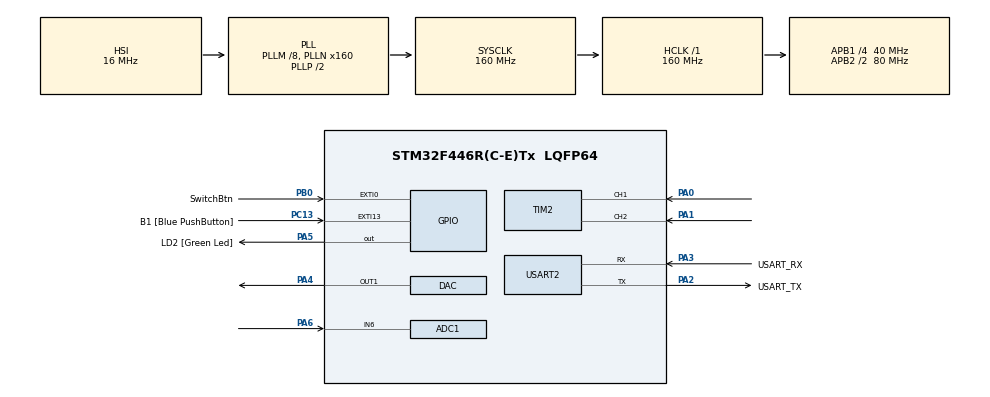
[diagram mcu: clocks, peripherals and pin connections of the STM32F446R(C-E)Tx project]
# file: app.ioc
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ADC1.Channel-5\#ChannelRegularConversion=ADC_CHANNEL_6
ADC1.ContinuousConvMode=DISABLE
ADC1.DMAContinuousRequests=ENABLE
ADC1.ExternalTrigConv=ADC_EXTERNALTRIGCONV_T8_TRGO
ADC1.InjNumberOfConversion=0
ADC1.NbrOfConversion=1
ADC1.NbrOfConversionFlag=1
ADC1.Rank-5\#ChannelRegularConversion=1
ADC1.SamplingTime-5\#ChannelRegularConversion=ADC_SAMPLETIME_28CYCLES
ADC1.master=1
DAC.DAC_Trigger=DAC_TRIGGER_T8_TRGO
Dma.ADC1.1.Direction=DMA_PERIPH_TO_MEMORY
Dma.ADC1.1.FIFOMode=DMA_FIFOMODE_DISABLE
Dma.ADC1.1.Instance=DMA2_Stream0
Dma.ADC1.1.MemDataAlignment=DMA_MDATAALIGN_HALFWORD
Dma.ADC1.1.MemInc=DMA_MINC_ENABLE
Dma.ADC1.1.Mode=DMA_CIRCULAR
Dma.ADC1.1.PeriphDataAlignment=DMA_PDATAALIGN_HALFWORD
Dma.ADC1.1.PeriphInc=DMA_PINC_DISABLE
Dma.ADC1.1.Priority=DMA_PRIORITY_LOW
Dma.DAC1.0.Direction=DMA_MEMORY_TO_PERIPH
Dma.DAC1.0.FIFOMode=DMA_FIFOMODE_DISABLE
Dma.DAC1.0.Instance=DMA1_Stream5
Dma.DAC1.0.MemDataAlignment=DMA_MDATAALIGN_HALFWORD
Dma.DAC1.0.MemInc=DMA_MINC_ENABLE
Dma.DAC1.0.Mode=DMA_CIRCULAR
Dma.DAC1.0.PeriphDataAlignment=DMA_PDATAALIGN_HALFWORD
Dma.DAC1.0.PeriphInc=DMA_PINC_DISABLE
Dma.DAC1.0.Priority=DMA_PRIORITY_LOW
Dma.MEMTOMEM.2.Direction=DMA_MEMORY_TO_MEMORY
Dma.MEMTOMEM.2.FIFOMode=DMA_FIFOMODE_ENABLE
Dma.MEMTOMEM.2.FIFOThreshold=DMA_FIFO_THRESHOLD_FULL
Dma.MEMTOMEM.2.Instance=DMA2_Stream1
Dma.MEMTOMEM.2.MemBurst=DMA_MBURST_SINGLE
Dma.MEMTOMEM.2.MemDataAlignment=DMA_MDATAALIGN_BYTE
Dma.MEMTOMEM.2.MemInc=DMA_MINC_ENABLE
Dma.MEMTOMEM.2.Mode=DMA_NORMAL
Dma.MEMTOMEM.2.PeriphBurst=DMA_PBURST_SINGLE
Dma.MEMTOMEM.2.PeriphDataAlignment=DMA_PDATAALIGN_BYTE
Dma.MEMTOMEM.2.PeriphInc=DMA_PINC_ENABLE
Dma.MEMTOMEM.2.Priority=DMA_PRIORITY_LOW
Dma.MEMTOMEM.3.Direction=DMA_MEMORY_TO_MEMORY
Dma.MEMTOMEM.3.FIFOMode=DMA_FIFOMODE_ENABLE
Dma.MEMTOMEM.3.FIFOThreshold=DMA_FIFO_THRESHOLD_FULL
Dma.MEMTOMEM.3.Instance=DMA2_Stream2
Dma.MEMTOMEM.3.MemBurst=DMA_MBURST_SINGLE
Dma.MEMTOMEM.3.MemDataAlignment=DMA_MDATAALIGN_BYTE
Dma.MEMTOMEM.3.MemInc=DMA_MINC_ENABLE
Dma.MEMTOMEM.3.Mode=DMA_NORMAL
Dma.MEMTOMEM.3.PeriphBurst=DMA_PBURST_SINGLE
Dma.MEMTOMEM.3.PeriphDataAlignment=DMA_PDATAALIGN_BYTE
Dma.MEMTOMEM.3.PeriphInc=DMA_PINC_ENABLE
Dma.MEMTOMEM.3.Priority=DMA_PRIORITY_LOW
Dma.Request0=DAC1
Dma.Request1=ADC1
Dma.Request2=MEMTOMEM
Dma.Request3=MEMTOMEM
Mcu.Family=STM32F4
Mcu.Name=STM32F446R(C-E)Tx
Mcu.Package=LQFP64
NVIC.ADC_IRQn=true\:0\:0\:false\:false\:true\:true\:true\:true
NVIC.DMA1_Stream5_IRQn=true\:0\:0\:false\:false\:true\:false\:true\:true
NVIC.DMA2_Stream0_IRQn=true\:0\:0\:false\:false\:true\:false\:true\:true
NVIC.EXTI0_IRQn=true\:0\:0\:false\:false\:true\:true\:true\:true
NVIC.EXTI15_10_IRQn=true\:0\:0\:false\:false\:true\:true\:true\:true
NVIC.PriorityGroup=NVIC_PRIORITYGROUP_0
NVIC.TIM1_UP_TIM10_IRQn=true\:0\:0\:false\:false\:true\:true\:true\:true
NVIC.TIM2_IRQn=true\:0\:0\:false\:false\:true\:true\:true\:true
NVIC.TIM6_DAC_IRQn=true\:0\:0\:false\:false\:true\:true\:true\:true
NVIC.TIM8_UP_TIM13_IRQn=true\:0\:0\:false\:false\:true\:true\:true\:true
PA0-WKUP.Signal=S_TIM2_CH1_ETR
PA1.Signal=S_TIM2_CH2
PA13.GPIO_Label=TMS
PA13.Mode=Trace_Asynchronous_SW
PA13.Signal=SYS_JTMS-SWDIO
PA14.GPIO_Label=TCK
PA14.Mode=Trace_Asynchronous_SW
PA14.Signal=SYS_JTCK-SWCLK
PA2.GPIO_Label=USART_TX
PA2.Mode=Asynchronous
PA2.Signal=USART2_TX
PA3.GPIO_Label=USART_RX
PA3.Mode=Asynchronous
PA3.Signal=USART2_RX
PA4.Signal=COMP_DAC1_group
PA5.GPIO_Label=LD2 [Green Led]
PA5.Signal=GPIO_Output
PA6.Signal=ADCx_IN6
PB0.GPIO_Label=SwitchBtn
PB0.GPIO_ModeDefaultEXTI=GPIO_MODE_IT_FALLING
PB0.Signal=GPXTI0
PB3.GPIO_Label=SWO
PB3.Mode=Trace_Asynchronous_SW
PB3.Signal=SYS_JTDO-SWO
PC13.GPIO_Label=B1 [Blue PushButton]
PC13.GPIO_ModeDefaultEXTI=GPIO_MODE_IT_FALLING
PC13.Signal=GPXTI13
PC14-OSC32_IN.Mode=LSE-External-Oscillator
PC14-OSC32_IN.Signal=RCC_OSC32_IN
PC15-OSC32_OUT.Mode=LSE-External-Oscillator
PC15-OSC32_OUT.Signal=RCC_OSC32_OUT
PH0-OSC_IN.Mode=HSE-External-Oscillator
PH0-OSC_IN.Signal=RCC_OSC_IN
PH1-OSC_OUT.Mode=HSE-External-Oscillator
PH1-OSC_OUT.Signal=RCC_OSC_OUT
ProjectManager.HeapSize=0x200
ProjectManager.StackSize=0x400
ProjectManager.TargetToolchain=CMake
RCC.48MHZClocksFreq_Value=84000000
RCC.AHBFreq_Value=160000000
RCC.APB1CLKDivider=RCC_HCLK_DIV4
RCC.APB1Freq_Value=40000000
RCC.APB1TimFreq_Value=80000000
RCC.APB2CLKDivider=RCC_HCLK_DIV2
RCC.APB2Freq_Value=80000000
RCC.APB2TimFreq_Value=160000000
RCC.CortexFreq_Value=160000000
RCC.FLatency-AdvancedSettings=FLASH_LATENCY_5
RCC.HCLKFreq_Value=160000000
RCC.HSE_VALUE=8000000
RCC.HSI_VALUE=16000000
RCC.PLLM=8
RCC.PLLN=160
RCC.PWREXT_OverDrive=PWREXT_OverDrive_ACTIVATED
RCC.PWR_Regulator_Voltage_Scale=PWR_REGULATOR_VOLTAGE_SCALE2
RCC.SYSCLKFreq_VALUE=160000000
RCC.SYSCLKSource=RCC_SYSCLKSOURCE_PLLCLK
RCC.USBFreq_Value=160000000
RCC.VCOOutputFreq_Value=320000000
SH.ADCx_IN6.0=ADC1_IN6,IN6
SH.COMP_DAC1_group.0=DAC_OUT1,DAC_OUT1
SH.S_TIM2_CH1_ETR.0=TIM2_CH1,Encoder_Interface
SH.S_TIM2_CH2.0=TIM2_CH2,Encoder_Interface
TIM10.Prescaler=1000 - 1
TIM8.Period=3200 - 1
TIM8.TIM_MasterOutputTrigger=TIM_TRGO_UPDATE
USART2.VirtualMode=VM_ASYNC
VP_TIM10_VS_ClockSourceINT.Mode=Enable_Timer
VP_TIM8_VS_ClockSourceINT.Mode=Internal
board=NUCLEO-F446RE

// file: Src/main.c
/* USER CODE BEGIN Header */
/**
  ******************************************************************************
  * @file           : main.c
  * @brief          : Main program body
  ******************************************************************************
  * @attention
  *
  * Copyright (c) 2025 STMicroelectronics.
  * All rights reserved.
  *
  * This software is licensed under terms that can be found in the LICENSE file
  * in the root directory of this software component.
  * If no LICENSE file comes with this software, it is provided AS-IS.
  *
  ******************************************************************************
  */
/* USER CODE END Header */
#include "main.h"
#include "adc.h"
#include "dac.h"
#include "dma.h"
#include "tim.h"
#include "usart.h"
#include "gpio.h"

/* USER CODE BEGIN Includes */
#include "arm_math.h"
/* USER CODE END Includes */

/* USER CODE BEGIN PTD */
typedef enum {false, true} bool;

typedef enum {OLD, PREV, NEW} processFrame;
typedef enum {LEFT, RIGHT} rawFrame;

#define NUM_PARAMETERS  5
typedef enum {
  THRESHOLD = 0,
  VOLUME,
  SUBTRACTIONS,
  ATTENUATION,
  COYOTE
} ParameterType;

typedef struct {
  const ParameterType type;
  int32_t counter;
  const float32_t min;
  const float32_t max;
  const float32_t step;
  volatile float32_t value;
  volatile float32_t baseValue;
} Parameter;

typedef struct {
  ParameterType curr;
  Parameter parameters[NUM_PARAMETERS];
} UserControl;

#define MAX_BUFS  16
typedef struct {
  const uint16_t numBufs;
  const uint16_t bufSize;
  const enum { NORMAL, CIRCULAR } dmaMode;
  volatile bool loadDone;
  union {
    struct {
      volatile uint16_t loadInd;
      volatile uint16_t readyInds[MAX_BUFS - 1];
    };
    volatile uint16_t indices[MAX_BUFS];
  };
  volatile void* buffers;
} MultiBuffer;
/* USER CODE END PTD */

/* USER CODE BEGIN PD */
#define HALF_FRAME_SIZE   512
#define FLOAT_HALF_FRAME  HALF_FRAME_SIZE * sizeof(float)
#define FULL_FRAME_SIZE   2 * HALF_FRAME_SIZE
#define FLOAT_FULL_FRAME  FULL_FRAME_SIZE * sizeof(float)

// mix signed and unsigned of same rank - UNSIGNED WINS. DO NOT USE U
#define ADC_MAX           4096
#define ADC_MAX_F         4096.0f
#define ADC_MID           2048

#define CNT_MAX           65536
#define CNT_MID           32768

#define BOUNCE_TIME       168 * 50  // kHz * ms. prescaler of 1000
/* USER CODE END PD */

/* USER CODE BEGIN PM */
#define MIN(a,b)            ((a) < (b) ? a : b)         // MIND THE SIDE EFFECTS!
#define MAX(a,b)            ((a) > (b) ? a : b)         // MIND THE SIDE EFFECTS!
#define NEXT(n,m)           ((n) == (m-1) ? 0 : (n+1))  // MIND THE SIDE EFFECTS!
#define PREV(n,m)           ((n) == 0 ? (m-1) : (n-1))  // MIND THE SIDE EFFECTS!

#define READY_RAW_BUF(b, n) ((int16_t(*)[b.bufSize]) (b.buffers))[b.readyInds[n]]
#define LOAD_RAW_BUF(b)     ((int16_t(*)[b.bufSize]) (b.buffers))[b.loadInd]
#define READY_BUF(b, n)     ((float32_t(*)[b.bufSize]) (b.buffers))[b.readyInds[n]]
#define LOAD_BUF(b)         ((float32_t(*)[b.bufSize]) (b.buffers))[b.loadInd]

#define INT16_TO_FLOAT(n)   (1.0f / ADC_MAX_F * (n - ADC_MID))
#define FLOAT_TO_INT16(n)   ((int16_t)(ADC_MAX * n) + ADC_MID)
/* USER CODE END PM */

/* USER CODE BEGIN PV */
int16_t adcData [2 * HALF_FRAME_SIZE] = {0};
int16_t dacData [2 * HALF_FRAME_SIZE] = {0};
MultiBuffer adcBuf = {2, HALF_FRAME_SIZE, CIRCULAR, false, {.indices = {0, 1}}, (void*)adcData};
MultiBuffer dacBuf = {2, HALF_FRAME_SIZE, CIRCULAR, false, {.indices = {0, 1}}, (void*)dacData};

float32_t inData    [3 * HALF_FRAME_SIZE] = {0.0};
float32_t outData   [3 * HALF_FRAME_SIZE] = {0.0};
MultiBuffer inBuf =  {3, HALF_FRAME_SIZE, NORMAL, false, {.indices = {0, 1, 2}}, (void*)inData};
MultiBuffer outBuf = {3, HALF_FRAME_SIZE, NORMAL, false, {.indices = {0, 1, 2}}, (void*)outData};

float32_t inFrames  [4 * FULL_FRAME_SIZE] = {0.0};
float32_t outFrames [4 * FULL_FRAME_SIZE] = {0.0};
MultiBuffer inFrameBuf =  {4, FULL_FRAME_SIZE, NORMAL, false, {.indices = {0, 1, 2, 3}}, (void*)inFrames};
MultiBuffer outFrameBuf = {4, FULL_FRAME_SIZE, NORMAL, false, {.indices = {0, 1, 2, 3}}, (void*)outFrames};

float32_t hann      [FULL_FRAME_SIZE] = {0.0};
float32_t tempHalf1 [HALF_FRAME_SIZE] = {0.0};
float32_t tempHalf2 [HALF_FRAME_SIZE] = {0.0};
float32_t temp1     [FULL_FRAME_SIZE] = {0.0};
float32_t temp2     [FULL_FRAME_SIZE] = {0.0};

float32_t X         [4 * FULL_FRAME_SIZE] = {0.0};
MultiBuffer XBuf =    {4, FULL_FRAME_SIZE, NORMAL, false, {.indices = {0, 1, 2, 3}}, (void*)X};
float32_t Xmag      [4 * HALF_FRAME_SIZE] = {0.0};
MultiBuffer XmagBuf = {4, HALF_FRAME_SIZE, NORMAL, false, {.indices = {0, 1, 2, 3}}, (void*)Xmag};
float32_t Smag      [4 * HALF_FRAME_SIZE] = {0.0};
MultiBuffer SmagBuf = {4, HALF_FRAME_SIZE, NORMAL, false, {.indices = {0, 1, 2, 3}}, (void*)Smag};
float32_t uMag      [HALF_FRAME_SIZE] = {0.0};

float32_t meanRatio = 0.0;
float32_t logMeanRatio = 0.0;
float32_t coolDown = 0.0;
float32_t threshold = 0.0;
bool speech = false;
bool speechBefore = false;
bool forceuMag = true;
bool mute = false;
bool bypass = false;

arm_rfft_fast_instance_f32 fft;

UserControl ctrl = {
  THRESHOLD,
  {
    {THRESHOLD,     0,  -25.0,  0.0,  1.0, -12.0, -12.0},
    {VOLUME,        0,   0.0,   1.0,  0.05, 0.9,   0.9},
    {SUBTRACTIONS,  0,   0.0,   10.0, 1.0,  2.0,   2.0},
    {ATTENUATION,   0,   0.00,  0.10, 0.01, 0.03,  0.03},
    {COYOTE,        0,   0.0,   50.0, 5.0,  30.0,  30.0}
  }
};
bool justPressed = false;     // protect timer from improper restarting
uint8_t clickCount = 0;
uint8_t holdCount = 0;
uint16_t pinPressed = B1_Pin;
uint16_t pinOld = B1_Pin;
/* USER CODE END PV */

void SystemClock_Config(void);

/* USER CODE BEGIN 0 */
static void arm_hanning_f32(float32_t * pDst, uint32_t blockSize) {
  // copied verbatim from GitHub source. ST provides a limited CMSIS DSP implementation
  float32_t k = 2.0f / ((float32_t) blockSize);
  float32_t w;

  for (uint32_t i=0; i < blockSize; i++) {
    w = PI * i * k;
    w = 0.5f * (1.0f - cosf (w));
    pDst[i] = w;
  }
}

static int16_t clampInt16(int16_t value, int16_t min, int16_t max) {
  if (value > max) return max;
  if (value < min) return min;
  return value;
}

static void MultiBufferRotate(MultiBuffer* mb) {
  for (int i = 0; i < mb->numBufs; i++) {
    mb->indices[i] = NEXT(mb->indices[i], mb->numBufs);
  }
}

static float32_t UserControlValue(const UserControl* control, ParameterType type) {
  return control->parameters[type].value;
}

static int16_t UserControlUpdate(UserControl* control) {
  ParameterType* type = &(control->curr);
  Parameter* param = &(control->parameters[*type]);

  int32_t count = (int32_t)(TIM2->CNT) - CNT_MID;
  float32_t newValue = param->baseValue + count * param->step;

  if (newValue > param->max || newValue < param->min) {
    TIM2->CNT = (uint32_t)(param->counter + CNT_MID);
  } else {
    param->value = newValue;
    param->counter = count;
  }

  return count;
}

static ParameterType UserControlSwitch(UserControl* control) {
  ParameterType* type = &(control->curr);
  *type = NEXT(*(type), NUM_PARAMETERS);
  TIM2->CNT = (uint32_t)(CNT_MID + control->parameters[*type].counter);
  UserControlUpdate(control);
  return *type;
}

void HAL_GPIO_EXTI_Callback(uint16_t pin) {
  if (justPressed == false || TIM10->CNT > BOUNCE_TIME) {
    pinOld = pinPressed;
    pinPressed = pin;
    if (pinPressed != pinOld) {
      clickCount = 0;
    }
    clickCount += 1;
  }
  if (justPressed == false) {
    justPressed = true;
    HAL_TIM_Base_Start_IT(&htim10);
    HAL_GPIO_TogglePin(LD2_GPIO_Port, LD2_Pin);
  }
}

void HAL_TIM_PeriodElapsedCallback(TIM_HandleTypeDef *htim) {
  if (htim == &htim10) {

    if (pinPressed == B1_Pin) {       // blue button
      bypass = !bypass;               // just in case
    } else if (pinPressed == SwitchBtn_Pin) {
      if (clickCount == 1) {
        if (HAL_GPIO_ReadPin(SwitchBtn_GPIO_Port, SwitchBtn_Pin) == GPIO_PIN_RESET) {
          holdCount += 1;             // still held down
          return;                     // keep counting
        } else {
          if (holdCount < 2) {        // single press or shold hold
            mute = !mute;
          } else if (holdCount < 5) { // long hold
            forceuMag = true;
          } else {                    // extra spicy long hold
            bypass = !bypass;
          }
        }
      }
      else if (clickCount > 1) {      // double press
        UserControlSwitch(&ctrl);
      }
    }

    HAL_GPIO_TogglePin(LD2_GPIO_Port, LD2_Pin);
    HAL_TIM_Base_Stop_IT(&htim10);
    clickCount = 0;
    holdCount = 0;
    justPressed = false;
    TIM10->CNT = 0;
  }
}

void HAL_ADC_ConvCpltCallback(ADC_HandleTypeDef *hadc) {
  UNUSED(hadc);
  // HAL_GPIO_WritePin(LD2_GPIO_Port, LD2_Pin, GPIO_PIN_SET);
  MultiBufferRotate(&adcBuf);
  adcBuf.loadDone = true;
}

void HAL_ADC_ConvHalfCpltCallback(ADC_HandleTypeDef *hadc) {
  UNUSED(hadc);
  // HAL_GPIO_WritePin(LD2_GPIO_Port, LD2_Pin, GPIO_PIN_SET);
  MultiBufferRotate(&adcBuf);
  adcBuf.loadDone = true;
}

static void processData() {
  // load from ADC
  for (int i = 0; i < adcBuf.bufSize; i++) {
    LOAD_BUF(inBuf)[i] = INT16_TO_FLOAT( READY_RAW_BUF(adcBuf, 0)[i] );
  }
  adcBuf.loadDone = false;
  MultiBufferRotate(&inBuf);

  // HAL_GPIO_WritePin(LD2_GPIO_Port, LD2_Pin, GPIO_PIN_SET);

  if (mute) {
    memset(LOAD_BUF(outBuf), 0, FLOAT_HALF_FRAME);
    MultiBufferRotate(&outBuf);
  } else if (bypass) {
    memcpy(LOAD_BUF(outBuf), READY_BUF(inBuf, 1), FLOAT_HALF_FRAME);
    MultiBufferRotate(&outBuf);
  } else {

    // copy twice as fast!
    HAL_DMA_Start(&hdma_memtomem_dma2_stream1,
      (uint32_t)(READY_BUF(inBuf, LEFT)),
      (uint32_t)(&temp1[0]),
      FLOAT_HALF_FRAME
    );
    HAL_DMA_Start(&hdma_memtomem_dma2_stream2,
      (uint32_t)(READY_BUF(inBuf, RIGHT)),
      (uint32_t)(&temp1[HALF_FRAME_SIZE]),
      FLOAT_HALF_FRAME
    );
    HAL_StatusTypeDef done1 = HAL_BUSY, done2 = HAL_BUSY;
    do {
      done1 = HAL_DMA_PollForTransfer(&hdma_memtomem_dma2_stream1, HAL_DMA_FULL_TRANSFER, 100);
      done2 = HAL_DMA_PollForTransfer(&hdma_memtomem_dma2_stream2, HAL_DMA_FULL_TRANSFER, 100);
    } while ((done1 != HAL_OK) && (done2 != HAL_OK));
    // apply window
    arm_mult_f32(temp1, hann, LOAD_BUF(inFrameBuf), FULL_FRAME_SIZE);
    MultiBufferRotate(&inFrameBuf);

    // fft, mag
    memcpy(temp1, READY_BUF(inFrameBuf, NEW), FLOAT_FULL_FRAME);
    arm_rfft_fast_f32(&fft,
      temp1,
      LOAD_BUF(XBuf),
      false
    );
    MultiBufferRotate(&XBuf);
    arm_cmplx_mag_f32(READY_BUF(XBuf, NEW), LOAD_BUF(XmagBuf), HALF_FRAME_SIZE);
    MultiBufferRotate(&XmagBuf);

    // spectral subtraction
    arm_scale_f32(uMag, UserControlValue(&ctrl, SUBTRACTIONS), tempHalf1, HALF_FRAME_SIZE);
    arm_sub_f32(
      READY_BUF(XmagBuf, NEW),
      tempHalf1,
      tempHalf2,
      HALF_FRAME_SIZE
    );
    // half-wave retification
    arm_clip_f32(
      tempHalf2,
      LOAD_BUF(SmagBuf),
      0.0f,
      MAXFLOAT / 2,
      HALF_FRAME_SIZE
    );
    MultiBufferRotate(&SmagBuf);

    // average spectral SNR
    for (int i = 0; i < HALF_FRAME_SIZE; i++) {
      tempHalf1[i] = READY_BUF(SmagBuf, NEW)[i] / uMag[i];
      // CMSIS team said fp division cannot be accelerated
    }
    arm_mean_f32(tempHalf1, HALF_FRAME_SIZE, &meanRatio);
    logMeanRatio = 20 * log10f(meanRatio);

    // voice activity detection & coyote time
    threshold = UserControlValue(&ctrl, THRESHOLD);
    speechBefore = speech;
    if (logMeanRatio >= threshold) {
      speech = true;
      coolDown = UserControlValue(&ctrl, COYOTE);
      if (speechBefore == false) {
        HAL_GPIO_WritePin(LD2_GPIO_Port, LD2_Pin, GPIO_PIN_SET);
      }
    } else {
      if (coolDown > 0.0) {
        speech = true;
        coolDown -= 1.0f;
      } else {
        speech = false;
        coolDown = 0.0;
        if (speechBefore == true) {
        HAL_GPIO_WritePin(LD2_GPIO_Port, LD2_Pin, GPIO_PIN_RESET);
        }
      }
    }

    // attenuate during non-speech
    if (speech == false) {
      arm_scale_f32(
        READY_BUF(SmagBuf, NEW),
        UserControlValue(&ctrl, ATTENUATION),
        LOAD_BUF(SmagBuf),
        HALF_FRAME_SIZE
      );
    } else {  // apply volume
      arm_scale_f32(
        READY_BUF(SmagBuf, NEW),
        UserControlValue(&ctrl, VOLUME),
        LOAD_BUF(SmagBuf),
        HALF_FRAME_SIZE
      );
    }
    MultiBufferRotate(&SmagBuf);

    // update noise spectrum. average
    if (forceuMag == true) {
      speech = false;
      forceuMag = false;
    }
    if (speech == false) {
      arm_add_f32(
        READY_BUF(XmagBuf, NEW),
        READY_BUF(XmagBuf, PREV),
        tempHalf1,
        HALF_FRAME_SIZE
      );
      arm_add_f32(
        tempHalf1,
        READY_BUF(XmagBuf, OLD),
        tempHalf2,
        HALF_FRAME_SIZE
      );
      arm_scale_f32(tempHalf2, (1.0f / 3.0f), uMag, HALF_FRAME_SIZE);
    }

    // polar to rect
    for (int i = 0; i < HALF_FRAME_SIZE; i++) {
      temp1[i] = READY_BUF(SmagBuf, NEW)[i] / READY_BUF(XmagBuf, NEW)[i];
    }
    for (int i = 0; i < HALF_FRAME_SIZE; i++) {
      if (READY_BUF(XmagBuf, NEW)[i] != 0.0f) {
        temp2[2*i  ] = temp1[i] * READY_BUF(XBuf, NEW)[2*i];   // cos
        temp2[2*i+1] = temp1[i] * READY_BUF(XBuf, NEW)[2*i+1]; // sin
      } else {  // ideally should never happen with floats
        temp2[2*i  ] = 0.0f;
        temp2[2*i+1] = 0.0f;
      }
    }

    // ifft
    arm_rfft_fast_f32(&fft, temp2, LOAD_BUF(outFrameBuf), true);
    MultiBufferRotate(&outFrameBuf);

    // reconstruct, 50% overlap
    arm_add_f32(
      &(READY_BUF(outFrameBuf, RIGHT)[0]),
      &(READY_BUF(outFrameBuf, LEFT)[HALF_FRAME_SIZE]),
      LOAD_BUF(outBuf),
      HALF_FRAME_SIZE
    );
    MultiBufferRotate(&outBuf);
  }

  // push to DAC
  for (int i = 0; i < adcBuf.bufSize; i++) {
    LOAD_RAW_BUF(dacBuf)[i] = clampInt16(
      FLOAT_TO_INT16( READY_BUF(outBuf, 0)[i] ),
      0,
      ADC_MAX
    );
  }
  // HAL_GPIO_WritePin(LD2_GPIO_Port, LD2_Pin, GPIO_PIN_RESET);
  MultiBufferRotate(&dacBuf);
}

/* USER CODE END 0 */

int main(void)
{

  /* MCU Configuration--------------------------------------------------------*/

  /* Reset of all peripherals, Initializes the Flash interface and the Systick. */
  HAL_Init();

  /* Configure the system clock */
  SystemClock_Config();

  /* Initialize all configured peripherals */
  MX_GPIO_Init();
  MX_DMA_Init();
  MX_ADC1_Init();
  MX_DAC_Init();
  MX_USART2_UART_Init();
  MX_TIM2_Init();
  MX_TIM8_Init();
  MX_TIM10_Init();
  /* USER CODE BEGIN 2 */
  HAL_TIM_Base_Start_IT(&htim8);
  HAL_TIM_Encoder_Start_IT(&htim2, TIM_CHANNEL_ALL);
  HAL_ADC_Start_DMA(&hadc1, (uint32_t*)adcData, 2 * HALF_FRAME_SIZE);
  HAL_DAC_Start_DMA(&hdac, DAC_CHANNEL_1, (uint32_t*)dacData, 2 * HALF_FRAME_SIZE, DAC_ALIGN_12B_R);

  arm_rfft_fast_init_f32(&fft, FULL_FRAME_SIZE);
  arm_hanning_f32(hann, FULL_FRAME_SIZE);
  TIM2->CNT = CNT_MID;

  for (int i = 0; i < HALF_FRAME_SIZE; i++) {
    uMag[i] = 1.0f;
  }
  /* USER CODE END 2 */

  /* Infinite loop */
  while (1)
  {

    /* USER CODE BEGIN 3 */
    UserControlUpdate(&ctrl);
    if (adcBuf.loadDone == true) {
      processData();
    }
  }
  /* USER CODE END 3 */
}

void SystemClock_Config(void)
{
  RCC_OscInitTypeDef RCC_OscInitStruct = {0};
  RCC_ClkInitTypeDef RCC_ClkInitStruct = {0};

  /** Configure the main internal regulator output voltage
  */
  __HAL_RCC_PWR_CLK_ENABLE();
  __HAL_PWR_VOLTAGESCALING_CONFIG(PWR_REGULATOR_VOLTAGE_SCALE2);

  /** Initializes the RCC Oscillators according to the specified parameters
  * in the RCC_OscInitTypeDef structure.
  */
  RCC_OscInitStruct.OscillatorType = RCC_OSCILLATORTYPE_HSI;
  RCC_OscInitStruct.HSIState = RCC_HSI_ON;
  RCC_OscInitStruct.HSICalibrationValue = RCC_HSICALIBRATION_DEFAULT;
  RCC_OscInitStruct.PLL.PLLState = RCC_PLL_ON;
  RCC_OscInitStruct.PLL.PLLSource = RCC_PLLSOURCE_HSI;
  RCC_OscInitStruct.PLL.PLLM = 8;
  RCC_OscInitStruct.PLL.PLLN = 160;
  RCC_OscInitStruct.PLL.PLLP = RCC_PLLP_DIV2;
  RCC_OscInitStruct.PLL.PLLQ = 2;
  RCC_OscInitStruct.PLL.PLLR = 2;
  if (HAL_RCC_OscConfig(&RCC_OscInitStruct) != HAL_OK)
  {
    Error_Handler();
  }

  /** Activate the Over-Drive mode
  */
  if (HAL_PWREx_EnableOverDrive() != HAL_OK)
  {
    Error_Handler();
  }

  /** Initializes the CPU, AHB and APB buses clocks
  */
  RCC_ClkInitStruct.ClockType = RCC_CLOCKTYPE_HCLK|RCC_CLOCKTYPE_SYSCLK
                              |RCC_CLOCKTYPE_PCLK1|RCC_CLOCKTYPE_PCLK2;
  RCC_ClkInitStruct.SYSCLKSource = RCC_SYSCLKSOURCE_PLLCLK;
  RCC_ClkInitStruct.AHBCLKDivider = RCC_SYSCLK_DIV1;
  RCC_ClkInitStruct.APB1CLKDivider = RCC_HCLK_DIV4;
  RCC_ClkInitStruct.APB2CLKDivider = RCC_HCLK_DIV2;

  if (HAL_RCC_ClockConfig(&RCC_ClkInitStruct, FLASH_LATENCY_5) != HAL_OK)
  {
    Error_Handler();
  }
}

void Error_Handler(void)
{
  __disable_irq();
  while (1)
  {
  }
}
